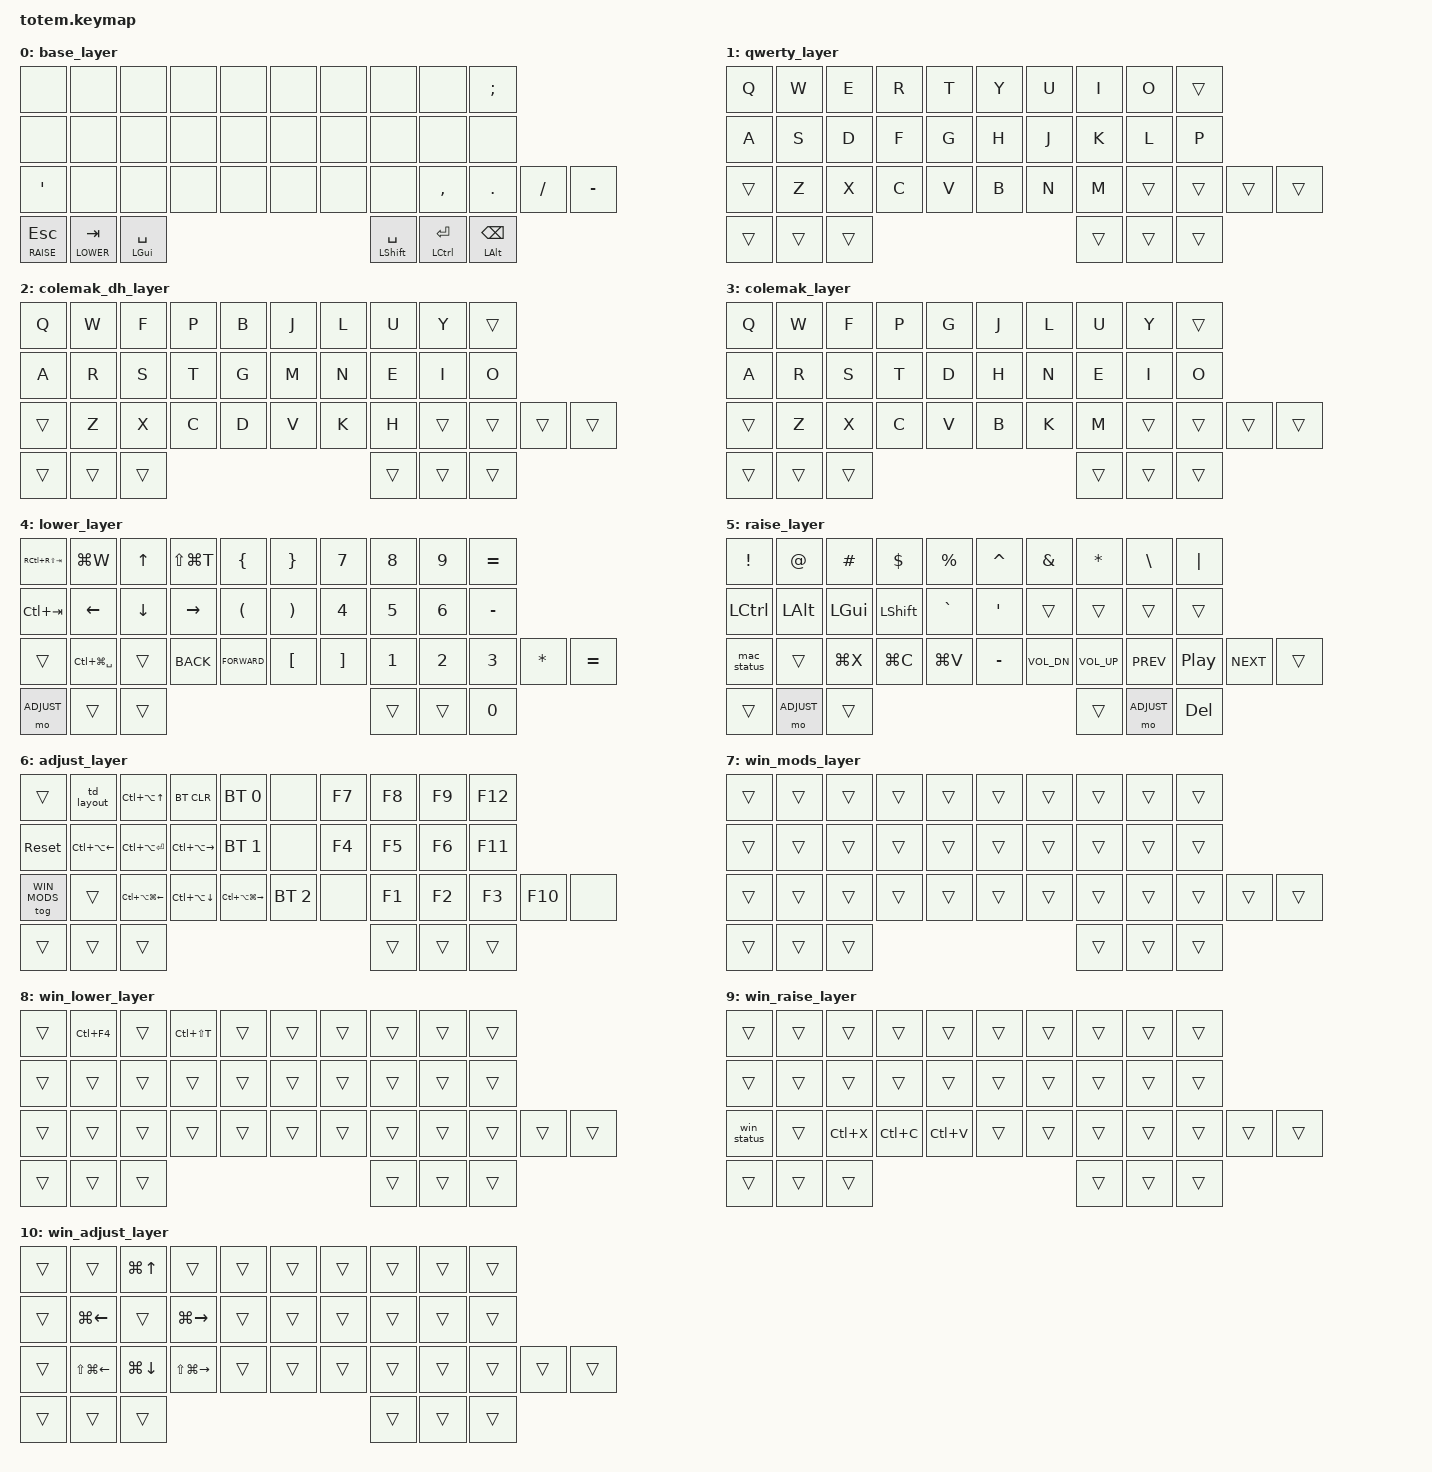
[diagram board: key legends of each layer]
// Copyright 2025 @alvarezb
// SPDX-License-Identifier: MIT

#include <behaviors.dtsi>
#include <dt-bindings/zmk/keys.h>
#include <dt-bindings/zmk/bt.h>

// ── Layer indices ──────────────────────────────────────────────
#define BASE        0
#define QWERTY      1
#define COLEMAK_DH  2
#define COLEMAK     3
#define LOWER       4
#define RAISE       5
#define ADJUST      6
#define WIN_MODS    7
#define WIN_LOWER   8
#define WIN_RAISE   9
#define WIN_ADJUST  10

// ── Hold-tap / tap-dance / macro behaviors ────────────────────
/ {
    behaviors {
        // Layer-tap for RAISE/LOWER thumb keys
        // QMK: TAPPING_TERM = 200ms, FLOW_TAP_TERM = 150ms (config.h)
        lth: layer_thumb {
            compatible = "zmk,behavior-hold-tap";
            #binding-cells = <2>;
            flavor = "balanced";
            tapping-term-ms = <200>;
            require-prior-idle-ms = <150>;
            bindings = <&mo>, <&kp>;
        };

        // Mod-tap for CMD / SHIFT / CTRL / ALT thumb keys
        mth: mod_thumb {
            compatible = "zmk,behavior-hold-tap";
            #binding-cells = <2>;
            flavor = "balanced";
            tapping-term-ms = <200>;
            require-prior-idle-ms = <150>;
            bindings = <&kp>, <&kp>;
        };

        // SWP_LAYOUT: 1 tap = QWERTY, 2 taps = Colemak-DH, 3 taps = Colemak
        td_layout: td_layout {
            compatible = "zmk,behavior-tap-dance";
            #binding-cells = <0>;
            tapping-term-ms = <300>;
            bindings = <&to QWERTY>, <&to COLEMAK_DH>, <&to COLEMAK>;
        };
    };

    macros {
        // OS status — types "macOS" or "Windows" into focused window
        // Matches QMK type_os_and_layout() OS portion
        mac_status: mac_status {
            compatible = "zmk,behavior-macro";
            #binding-cells = <0>;
            bindings = <&kp M &kp A &kp C &kp O &kp S>;
        };

        win_status: win_status {
            compatible = "zmk,behavior-macro";
            #binding-cells = <0>;
            bindings = <&kp W &kp I &kp N &kp D &kp O &kp W &kp S>;
        };
    };

    // ── WIN_* conditional layers ─────────────────────────────
    // WIN_MODS (7) is a completely empty "flag" layer — it contains only
    // &trans and exists solely to trigger these conditional layers.
    // See plan for why WIN_MODS must be empty (layer priority issue).
    conditional_layers {
        compatible = "zmk,conditional-layers";
        win_lower_activate {
            if-layers = <LOWER WIN_MODS>;
            then-layer = <WIN_LOWER>;
        };
        win_raise_activate {
            if-layers = <RAISE WIN_MODS>;
            then-layer = <WIN_RAISE>;
        };
        win_adjust_activate {
            if-layers = <ADJUST WIN_MODS>;
            then-layer = <WIN_ADJUST>;
        };
    };

    keymap {
        compatible = "zmk,keymap";

// ════════════════════════════════════════════════════════════════
// 0: BASE — outer-column punctuation + thumb hold-taps
//    All alphas are transparent (fall through to QWERTY/Colemak)
//
//        ·    ·    ·    ·    ·   |   ·    ·    ·    ·    ;
//        ·    ·    ·    ·    ·   |   ·    ·    ·    ·    ·
//    '   ·    ·    ·    ·    ·   |   ·    ·    ,    .    /    -
//              ESC  TAB  SPC     |        SPC  RET  BSP
//             RAISE LOWER CMD    |       SHFT CTRL  ALT
// ════════════════════════════════════════════════════════════════
        base_layer {
            bindings = <
// row 0 (top)
&none     &none     &none     &none     &none       &none     &none     &none     &none     &kp SEMI
// row 1 (home)
&none     &none     &none     &none     &none       &none     &none     &none     &none     &none
// outer-L + row 2 (bottom) + outer-R
&kp SQT   &none     &none     &none     &none     &none       &none     &none     &kp COMMA &kp DOT   &kp FSLH  &kp MINUS
// thumbs: L-outer  L-middle        L-inner         R-inner         R-middle        R-outer
&lth RAISE ESC   &lth LOWER TAB   &mth LGUI SPACE   &mth LSHFT SPACE   &mth LCTRL RET   &mth LALT BSPC
            >;
        };

// ════════════════════════════════════════════════════════════════
// 1: QWERTY
// ════════════════════════════════════════════════════════════════
        qwerty_layer {
            bindings = <
&kp Q  &kp W  &kp E  &kp R  &kp T   &kp Y  &kp U  &kp I  &kp O  &trans
&kp A  &kp S  &kp D  &kp F  &kp G   &kp H  &kp J  &kp K  &kp L  &kp P
&trans &kp Z  &kp X  &kp C  &kp V   &kp B  &kp N  &kp M  &trans &trans &trans &trans
                      &trans &trans  &trans &trans &trans &trans
            >;
        };

// ════════════════════════════════════════════════════════════════
// 2: COLEMAK-DH
// ════════════════════════════════════════════════════════════════
        colemak_dh_layer {
            bindings = <
&kp Q  &kp W  &kp F  &kp P  &kp B   &kp J  &kp L  &kp U  &kp Y  &trans
&kp A  &kp R  &kp S  &kp T  &kp G   &kp M  &kp N  &kp E  &kp I  &kp O
&trans &kp Z  &kp X  &kp C  &kp D   &kp V  &kp K  &kp H  &trans &trans &trans &trans
                      &trans &trans  &trans &trans &trans &trans
            >;
        };

// ════════════════════════════════════════════════════════════════
// 3: COLEMAK
// ════════════════════════════════════════════════════════════════
        colemak_layer {
            bindings = <
&kp Q  &kp W  &kp F  &kp P  &kp G   &kp J  &kp L  &kp U  &kp Y  &trans
&kp A  &kp R  &kp S  &kp T  &kp D   &kp H  &kp N  &kp E  &kp I  &kp O
&trans &kp Z  &kp X  &kp C  &kp V   &kp B  &kp K  &kp M  &trans &trans &trans &trans
                      &trans &trans  &trans &trans &trans &trans
            >;
        };

// ════════════════════════════════════════════════════════════════
// 4: LOWER — numbers, navigation, browser shortcuts (RED)
//
//   CS+TAB close-tab  UP   reopen-tab   {  |  }   7   8   9   =
//   C+TAB  LEFT       DOWN RIGHT        (  |  )   4   5   6   -
//  ·  emoji  ·      K_BACK K_FWD        [  |  ]   1   2   3   *   =
//                  ADJUST  ·    ·          ·   ·  0
//
// K_BACK/K_FORWARD: native HID AC-Back/AC-Forward, works on modern macOS.
// If macOS rejects these, add MAC overrides in WIN_LOWER (swap Mac/Win).
// ════════════════════════════════════════════════════════════════
        lower_layer {
            bindings = <
&kp RC(RS(TAB))  &kp LG(W)           &kp UP    &kp LS(LG(T))  &kp LBRC    &kp RBRC  &kp N7  &kp N8  &kp N9  &kp EQUAL
&kp LC(TAB)      &kp LEFT            &kp DOWN  &kp RIGHT      &kp LPAR    &kp RPAR  &kp N4  &kp N5  &kp N6  &kp MINUS
&trans  &kp LC(LG(SPACE))  &trans    &kp K_BACK  &kp K_FORWARD  &kp LBKT  &kp RBKT  &kp N1  &kp N2  &kp N3  &kp STAR  &kp EQUAL
                            &mo ADJUST  &trans  &trans          &trans    &trans    &kp N0
            >;
        };

// ════════════════════════════════════════════════════════════════
// 5: RAISE — symbols, modifiers, media (BLUE)
//
//        !    @    #    $    %   |   ^    &    *    \    |
//        CTRL ALT  CMD  SHFT  `  |   '    ·    ·    ·    ·
//  status ·   CUT  COPY PASTE  - |  VOLD VOLU PREV PLAY NEXT  ·
//              ·   ADJUST  ·     |   ·  ADJUST DEL
// ════════════════════════════════════════════════════════════════
        raise_layer {
            bindings = <
&kp EXCL   &kp AT    &kp HASH   &kp DLLR  &kp PRCNT    &kp CARET  &kp AMPS     &kp STAR   &kp BSLH    &kp PIPE
&kp LCTRL  &kp LALT  &kp LGUI   &kp LSHFT &kp GRAVE    &kp SQT    &trans       &trans     &trans      &trans
&mac_status  &trans  &kp LG(X)  &kp LG(C) &kp LG(V)    &kp MINUS  &kp C_VOL_DN &kp C_VOL_UP &kp C_PREV &kp C_PP  &kp C_NEXT  &trans
                     &trans     &mo ADJUST &trans        &trans     &mo ADJUST   &kp DEL
            >;
        };

// ════════════════════════════════════════════════════════════════
// 6: ADJUST — F-keys, BT, layout, window management
//
//    · SWP_LYT TOP_HALF BT_CLR BT_SEL0  |  ·   F7   F8   F9   F12
//    RESET L_HALF  MAX  R_HALF BT_SEL1  |  ·   F4   F5   F6   F11
// WIN ·  L_1WIN BOT_HALF R_1WIN BT_SEL2 |  ·   F1   F2   F3   F10  ·
//              ·    ·    ·               |   ·   ·   ·
//
// Q (top-left outer pinky) = empty: use double-tap physical reset button to flash
// SWP_LYT: 1-tap=QWERTY, 2-tap=Colemak-DH, 3-tap=Colemak
// WIN toggle (outer-L): same position as QMK SWAP_OS
// BT keys: T/G/B=select 0/1/2 (QWERTY inner-index column), R=clear
// Window mgmt (Mac): E=top, S=left, D=max, F=right, X=l1win, C=bot, V=r1win
// ════════════════════════════════════════════════════════════════
        adjust_layer {
            bindings = <
&trans      &td_layout          &kp LC(LA(UP))     &bt BT_CLR           &bt BT_SEL 0    &none  &kp F7  &kp F8  &kp F9  &kp F12
&sys_reset  &kp LC(LA(LEFT))    &kp LC(LA(RET))    &kp LC(LA(RIGHT))    &bt BT_SEL 1    &none  &kp F4  &kp F5  &kp F6  &kp F11
&tog WIN_MODS  &trans   &kp LC(LA(LG(LEFT)))  &kp LC(LA(DOWN))  &kp LC(LA(LG(RIGHT)))  &bt BT_SEL 2   &none  &kp F1  &kp F2  &kp F3  &kp F10  &none
                                &trans  &trans  &trans    &trans  &trans  &trans
            >;
        };

// ════════════════════════════════════════════════════════════════
// 7: WIN_MODS — completely empty (conditional layer trigger flag)
//    Do not add any bindings here. See plan for explanation.
// ════════════════════════════════════════════════════════════════
        win_mods_layer {
            bindings = <
&trans &trans &trans &trans &trans    &trans &trans &trans &trans &trans
&trans &trans &trans &trans &trans    &trans &trans &trans &trans &trans
&trans &trans &trans &trans &trans    &trans &trans &trans &trans &trans &trans &trans
                     &trans &trans    &trans &trans &trans &trans
            >;
        };

// ════════════════════════════════════════════════════════════════
// 8: WIN_LOWER — Windows overrides active when LOWER + WIN_MODS
//    Only defines keys that differ from Mac defaults in LOWER.
// ════════════════════════════════════════════════════════════════
        win_lower_layer {
            bindings = <
&trans  &kp LC(F4)  &trans  &kp LC(LS(T))  &trans    &trans &trans &trans &trans &trans
&trans  &trans      &trans  &trans         &trans    &trans &trans &trans &trans &trans
&trans  &trans      &trans  &trans         &trans    &trans &trans &trans &trans &trans &trans &trans
                    &trans  &trans         &trans    &trans &trans &trans
            >;
        };

// ════════════════════════════════════════════════════════════════
// 9: WIN_RAISE — Windows overrides active when RAISE + WIN_MODS
//    Only defines keys that differ from Mac defaults in RAISE.
// ════════════════════════════════════════════════════════════════
        win_raise_layer {
            bindings = <
&trans &trans    &trans    &trans    &trans    &trans &trans &trans &trans &trans
&trans &trans    &trans    &trans    &trans    &trans &trans &trans &trans &trans
&win_status  &trans  &kp LC(X)  &kp LC(C)  &kp LC(V)  &trans    &trans &trans &trans &trans &trans &trans
                     &trans     &trans     &trans     &trans    &trans &trans
            >;
        };

// ════════════════════════════════════════════════════════════════
// 10: WIN_ADJUST — Windows overrides active when ADJUST + WIN_MODS
//     Only defines keys that differ from Mac defaults in ADJUST.
//     D (maximize) stays &trans — unimplemented in QMK too.
// ════════════════════════════════════════════════════════════════
        win_adjust_layer {
            bindings = <
&trans &trans           &kp LG(UP)     &trans           &trans    &trans &trans &trans &trans &trans
&trans &kp LG(LEFT)     &trans         &kp LG(RIGHT)    &trans    &trans &trans &trans &trans &trans
&trans &kp LS(LG(LEFT)) &kp LG(DOWN)  &kp LS(LG(RIGHT)) &trans   &trans &trans &trans &trans &trans &trans &trans
                         &trans  &trans  &trans    &trans  &trans  &trans
            >;
        };
    };
};
